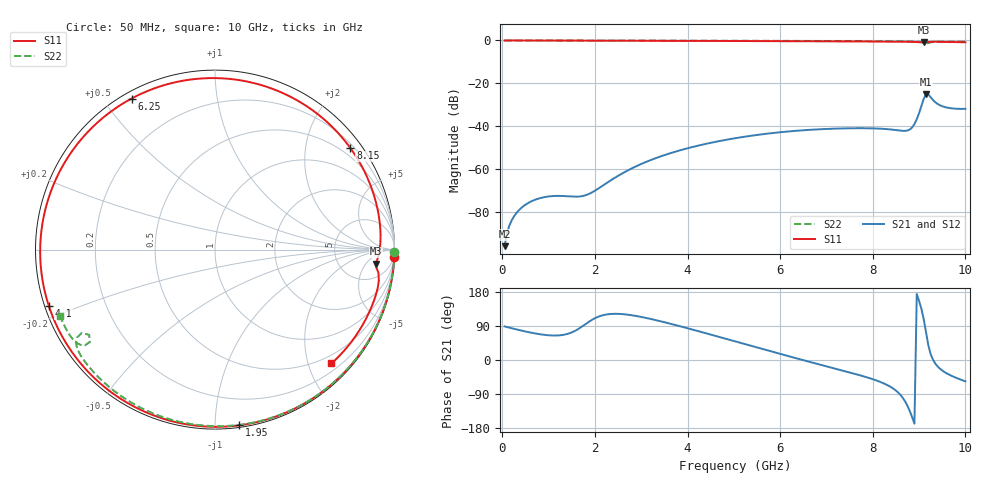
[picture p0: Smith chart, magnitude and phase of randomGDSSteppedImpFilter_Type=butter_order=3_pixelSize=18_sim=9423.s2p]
! freq	dB(S11)	phase(S11)	dB(S12)	phase(S12)
!  dB(S21)	phase(S21)	dB(S22)	phase(S22)
!S-par simulation data
#  GHz  S  DB  R 50
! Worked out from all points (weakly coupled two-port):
!   200 points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, 50 MHz to 10 GHz, reference 50 ohm
!   highest |S21| = -25.10 dB at 9.15 GHz (marker M1); lowest = -96.1 dB at 50 MHz (marker M2)
!   lowest |S11| = -0.9 dB at 9.1 GHz (marker M3), VSWR 18.63, Z = 557 - j456 ohm
!   |S11| at or under -10 dB: nowhere
!   |S22| runs from -1.4 to 0.0 dB; largest |S21 - S12| = 0
!   S11 on the Smith chart (normalised r, x): 50 MHz: 0, -52; 1.95 GHz: 0.01, -1.15; 4.1 GHz: 0.01, -0.17; 6.25 GHz: 0.03, +0.59; 8.15 GHz: 0.29, +2.98; 10 GHz: 0.34, -2.41
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0.05  -0.00 -2.2  -96.10 88.7  -96.10 88.7  -0.00 -0.9
0.3  -0.02 -13.2  -80.75 80.9  -80.75 80.9  -0.01 -5.5
0.6  -0.03 -26.2  -75.45 72.7  -75.45 72.7  -0.01 -10.9
0.9  -0.05 -39.1  -73.21 66.5  -73.21 66.5  -0.02 -16.4
1.75  -0.09 -74.2  -72.59 90.6  -72.59 90.6  -0.04 -31.6
1.95  -0.10 -82.1  -70.83 106.9  -70.83 106.9  -0.05 -35.1
2.65  -0.13 -108.9  -61.39 120.4  -61.39 120.4  -0.06 -47.2
3.4  -0.16 -136.2  -54.31 102.8  -54.31 102.8  -0.08 -59.8
4.1  -0.20 -161.1  -49.81 80.5  -49.81 80.5  -0.10 -71.3
5.05  -0.26 164.8  -45.59 48.5  -45.59 48.5  -0.13 -86.2
5.65  -0.30 142.4  -43.72 28.0  -43.72 28.0  -0.16 -95.3
6.25  -0.34 118.9  -42.37 7.8  -42.37 7.8  -0.19 -104.3
6.7  -0.38 100.5  -41.67 -7.0  -41.67 -7.0  -0.22 -110.9
7.4  -0.43 70.4  -41.06 -29.6  -41.06 -29.6  -0.26 -121.0
8.15  -0.51 36.8  -41.19 -57.3  -41.19 -57.3  -0.33 -131.8
8.35  -0.54 27.8  -41.50 -68.5  -41.50 -68.5  -0.35 -134.7
8.8  -0.65 7.4  -41.59 -135.0  -41.59 -135.0  -0.42 -141.9
8.95  -0.73 0.6  -36.80 174.2  -36.80 174.2  -0.53 -145.0
9.1  -0.93 -5.1  -27.27 107.8  -27.27 107.8  -1.14 -148.0
9.15  -0.89 -6.1  -25.10 72.4  -25.10 72.4  -1.45 -145.9
9.5  -0.66 -22.6  -30.72 -27.7  -30.72 -27.7  -0.55 -148.6
10  -0.84 -44.3  -31.95 -56.4  -31.95 -56.4  -0.55 -156.6
